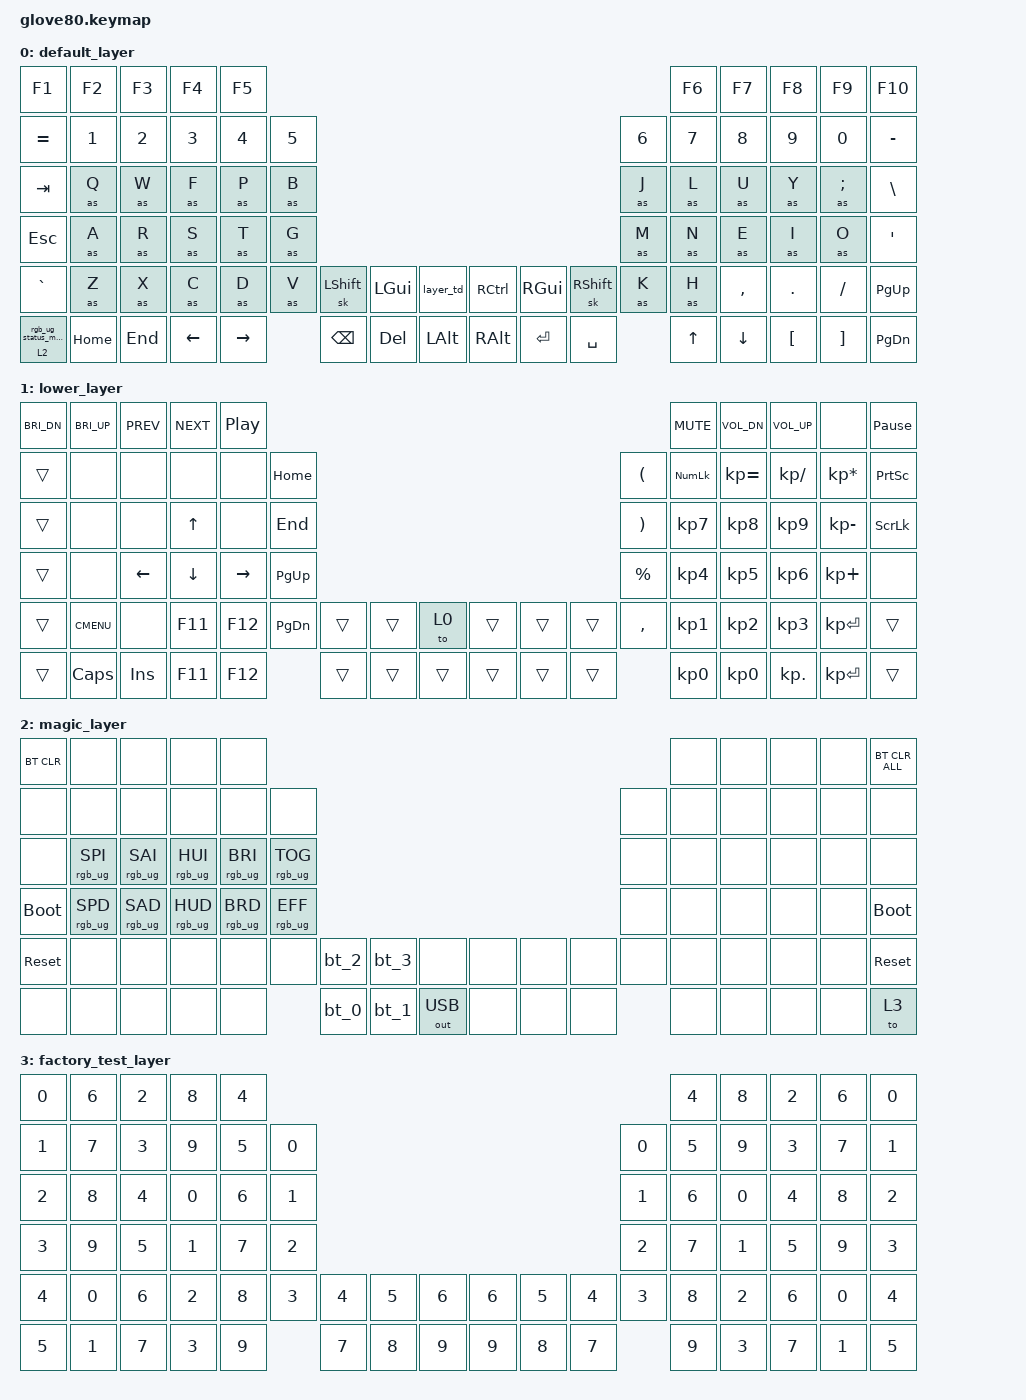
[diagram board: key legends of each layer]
/*
 * Copyright (c) 2020 The ZMK Contributors
 *
 * SPDX-License-Identifier: MIT
 */

#include <behaviors.dtsi>
#include <dt-bindings/zmk/bt.h>
#include <dt-bindings/zmk/keys.h>
#include <dt-bindings/zmk/outputs.h>
#include <dt-bindings/zmk/rgb.h>

#define HYPER LC(LS(LG(LALT)))

// layers

#define DEFAULT 0
#define LOWER 1
#define MAGIC 2
#define FACTORY_TEST 3

/ {
    behaviors {
        // For the "layer" key, it'd nice to be able to use it as either a shift or a toggle.
        // Configure it as a tap dance, so the first tap (or hold) is a &mo and the second tap is a &to

        layer_td: tap_dance_0 {
            compatible = "zmk,behavior-tap-dance";
            label = "LAYER_TAP_DANCE";
            #binding-cells = <0>;
            tapping-term-ms = <200>;
            bindings = <&mo 1>, <&to 1>;
        };

        magic: magic_hold_tap {
            compatible = "zmk,behavior-hold-tap";
            label = "MAGIC_HOLD_TAP";
            #binding-cells = <2>;
            flavor = "tap-preferred";
            tapping-term-ms = <200>;
            bindings = <&mo>, <&rgb_ug_status_macro>;
        };

        as_ht: autoshift_hold_tap {
            compatible = "zmk,behavior-hold-tap";
            label = "AUTOSHIFT_HOLD_TAP";
            #binding-cells = <2>;
            tapping-term-ms = <300>;
            flavor = "tap-preferred";
            bindings = <&shifted>, <&kp>;
        };
    };

    macros {
        rgb_ug_status_macro: rgb_ug_status_macro_0 {
            label = "RGB_UG_STATUS";
            compatible = "zmk,behavior-macro";
            #binding-cells = <0>;
            bindings = <&rgb_ug RGB_STATUS>;
        };

        bt_0: bt_profile_macro_0 {
            label = "BT_0";
            compatible = "zmk,behavior-macro";
            #binding-cells = <0>;
            bindings = <&out OUT_BLE &bt BT_SEL 0>;
        };

        bt_1: bt_profile_macro_1 {
            label = "BT_1";
            compatible = "zmk,behavior-macro";
            #binding-cells = <0>;
            bindings = <&out OUT_BLE &bt BT_SEL 1>;
        };

        bt_2: bt_profile_macro_2 {
            label = "BT_2";
            compatible = "zmk,behavior-macro";
            #binding-cells = <0>;
            bindings = <&out OUT_BLE &bt BT_SEL 2>;
        };

        bt_3: bt_profile_macro_3 {
            label = "BT_3";
            compatible = "zmk,behavior-macro";
            #binding-cells = <0>;
            bindings = <&out OUT_BLE &bt BT_SEL 3>;
        };

        shifted: macro_shifted_kp {
            #binding-cells = <1>;
            label = "MACRO_SHIFTED_KP";
            compatible = "zmk,behavior-macro-one-param";
            bindings =
                <&macro_press>,
                <&kp LSHFT &macro_param_1to1>,
                <&macro_tap>,
                <&kp MACRO_PLACEHOLDER>,
                <&macro_release>,
                <&kp LSHFT>;
        };

        as: autoshift {
            compatible = "zmk,behavior-macro-one-param";
            #binding-cells = <1>;
            label = "AUTOSHIFT_KP";
            bindings =
                <&macro_press>,
                <&macro_param_1to1 &macro_param_1to2 &as_ht MACRO_PLACEHOLDER MACRO_PLACEHOLDER>,
                <&macro_pause_for_release>,
                <&macro_release>,
                <&macro_param_1to1 &macro_param_1to2 &as_ht MACRO_PLACEHOLDER MACRO_PLACEHOLDER>;
        };
    };

    keymap {
        compatible = "zmk,keymap";

        default_layer {
            // ---------------------------------------------------------------------------------------------------------------------------------
            // |  F1   |  F2 |  F3 |  F4  |  F5  |                                                               |  F6   |  F7   |  F8  |   F9  |  F10 |
            // |  =    |  1  |  2  |  3   |  4   |  5   |                                                 |  6   |   7   |   8   |  9   |   0   |   -  |
            // |  TAB  |  Q  |  W  |  E   |  R   |  T   |                                                 |  Y   |   U   |   I   |  O   |   P   |   \  |
            // |  ESC  |  A  |  S  |  D   |  F   |  G   |                                                 |  H   |   J   |   K   |  L   |   ;   |   '  |
            // |   `   |  Z  |  X  |  C   |  V   |  B   | LSHFT | LCTRL | LOWER | | LGUI  | RCTRL | RSHFT |  N   |   M   |   ,   |  .   |   /   | PGUP |
            // | MAGIC | HOME| END | LEFT | RIGHT|      | BSPC  | DEL   | LALT  | | RALT  | RET   | SPACE |      |  UP   | DOWN  |  [   |   ]   | PGDN |

            bindings = <
&kp F1      &kp F2    &kp F3   &kp F4    &kp F5                                                                                              &kp F6  &kp F7     &kp F8    &kp F9    &kp F10
&kp EQUAL   &kp N1    &kp N2   &kp N3    &kp N4     &kp N5                                                                           &kp N6  &kp N7  &kp N8     &kp N9    &kp N0    &kp MINUS
&kp TAB     &as Q     &as W    &as F     &as P      &as B                                                                            &as J   &as L   &as U      &as Y     &as SEMI  &kp BSLH
&kp ESC     &as A     &as R    &as S     &as T      &as G                                                                            &as M   &as N   &as E      &as I     &as O     &kp SQT
&kp GRAVE   &as Z     &as X    &as C     &as D      &as V   &sk LSHFT  &kp LEFT_GUI  &layer_td  &kp RCTRL  &kp RIGHT_GUI  &sk RSHFT  &as K   &as H   &kp COMMA  &kp DOT   &kp FSLH  &kp PG_UP
&magic 2 0  &kp HOME  &kp END  &kp LEFT  &kp RIGHT          &kp BSPC   &kp DEL       &kp LALT   &kp RALT   &kp RET        &kp SPACE          &kp UP  &kp DOWN   &kp LBKT  &kp RBKT  &kp PG_DN
            >;
        };

        lower_layer {
            bindings = <
&kp C_BRI_DN  &kp C_BRI_UP  &kp C_PREV  &kp C_NEXT  &kp C_PP                                                                         &kp C_MUTE  &kp C_VOL_DN  &kp C_VOL_UP   &none            &kp PAUSE_BREAK
&trans        &none         &none       &none       &none      &kp HOME                                                   &kp LPAR   &kp KP_NUM  &kp KP_EQUAL  &kp KP_DIVIDE  &kp KP_MULTIPLY  &kp PSCRN
&trans        &none         &none       &kp UP      &none      &kp END                                                    &kp RPAR   &kp KP_N7   &kp KP_N8     &kp KP_N9      &kp KP_MINUS     &kp SLCK
&trans        &none         &kp LEFT    &kp DOWN    &kp RIGHT  &kp PG_UP                                                  &kp PRCNT  &kp KP_N4   &kp KP_N5     &kp KP_N6      &kp KP_PLUS      &none
&trans        &kp K_CMENU   &none       &kp F11     &kp F12    &kp PG_DN  &trans  &trans  &to 0   &trans  &trans  &trans  &kp COMMA  &kp KP_N1   &kp KP_N2     &kp KP_N3      &kp KP_ENTER     &trans
&trans        &kp CAPS      &kp INS     &kp F11     &kp F12               &trans  &trans  &trans  &trans  &trans  &trans             &kp KP_N0   &kp KP_N0     &kp KP_DOT     &kp KP_ENTER     &trans
            >;
        };

        magic_layer {
            bindings = <
&bt BT_CLR   &none            &none            &none            &none                                                                                     &none  &none  &none  &none  &bt BT_CLR_ALL
&none        &none            &none            &none            &none            &none                                                             &none  &none  &none  &none  &none  &none
&none        &rgb_ug RGB_SPI  &rgb_ug RGB_SAI  &rgb_ug RGB_HUI  &rgb_ug RGB_BRI  &rgb_ug RGB_TOG                                                   &none  &none  &none  &none  &none  &none
&bootloader  &rgb_ug RGB_SPD  &rgb_ug RGB_SAD  &rgb_ug RGB_HUD  &rgb_ug RGB_BRD  &rgb_ug RGB_EFF                                                   &none  &none  &none  &none  &none  &bootloader
&sys_reset   &none            &none            &none            &none            &none            &bt_2  &bt_3  &none         &none  &none  &none  &none  &none  &none  &none  &none  &sys_reset
&none        &none            &none            &none            &none                             &bt_0  &bt_1  &out OUT_USB  &none  &none  &none         &none  &none  &none  &none  &to 3
            >;
        };

        factory_test_layer {
            bindings = <
&kp N0  &kp N6  &kp N2  &kp N8  &kp N4                                                                  &kp N4  &kp N8  &kp N2  &kp N6  &kp N0
&kp N1  &kp N7  &kp N3  &kp N9  &kp N5  &kp N0                                                  &kp N0  &kp N5  &kp N9  &kp N3  &kp N7  &kp N1
&kp N2  &kp N8  &kp N4  &kp N0  &kp N6  &kp N1                                                  &kp N1  &kp N6  &kp N0  &kp N4  &kp N8  &kp N2
&kp N3  &kp N9  &kp N5  &kp N1  &kp N7  &kp N2                                                  &kp N2  &kp N7  &kp N1  &kp N5  &kp N9  &kp N3
&kp N4  &kp N0  &kp N6  &kp N2  &kp N8  &kp N3  &kp N4  &kp N5  &kp N6  &kp N6  &kp N5  &kp N4  &kp N3  &kp N8  &kp N2  &kp N6  &kp N0  &kp N4
&kp N5  &kp N1  &kp N7  &kp N3  &kp N9          &kp N7  &kp N8  &kp N9  &kp N9  &kp N8  &kp N7          &kp N9  &kp N3  &kp N7  &kp N1  &kp N5
            >;
        };
    };
};
